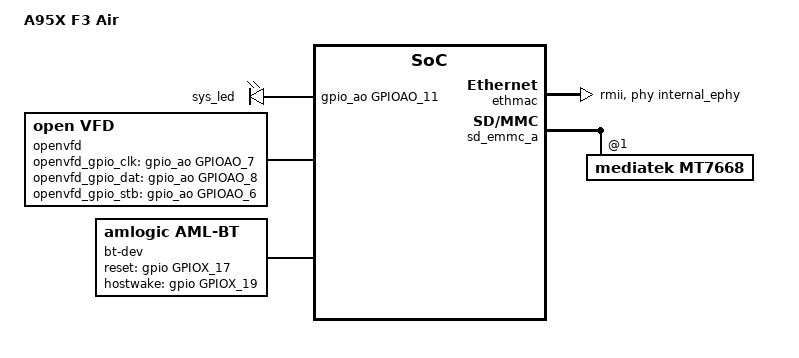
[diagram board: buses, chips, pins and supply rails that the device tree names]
// SPDX-License-Identifier: (GPL-2.0+ OR MIT)
/*
 * A95X F3 Air (Shenzhen CYX), Amlogic S905X3.
 *
 * Board description after mainline meson-sm1-a95xf3-air.dts
 * (Copyright (c) 2020 Christian Hewitt <christianshewitt@gmail.com>)
 * and the stock DTB of the box (amlogic-dt-id "sm1_ac213_4g").
 */

/dts-v1/;

#include "sm1_s905x3_common_oldfw.dtsi"
#include "remote-cyx-a95xf3air.dtsi"

/ {
	model = "A95X F3 Air";
	amlogic-dt-id = "sm1_a95xf3air";
	compatible = "sm1_a95xf3air";

	/* 4 GiB, usable range of the stock DTB */
	memory@00000000 {
		device_type = "memory";
		linux,usable-memory = <0x0 0x000000 0x0 0xf5700000>;
	};

	gpioleds {
		compatible = "gpio-leds";
		status = "okay";

		sys_led {
			label="sys_led";
			gpios=<&gpio_ao GPIOAO_11 GPIO_ACTIVE_HIGH>;
			default-state ="default-on";
		};
	};

	/*
	 * Front panel clock: FD628 with a 4-digit LED display (OpenVFD
	 * display type 0x03 "5D_7S_ABOX", controller FD628), from the A95X
	 * F3 Air entry of arthur-liberman/vfd-configurations. The pins match
	 * the stock cyx-vfd node (STB GPIOAO_6, CLK GPIOAO_7, DAT GPIOAO_8).
	 */
	openvfd {
		compatible = "open,vfd";
		dev_name = "openvfd";
		status = "okay";
		openvfd_gpio_clk = <&gpio_ao GPIOAO_7 GPIO_ACTIVE_HIGH>;
		openvfd_gpio_dat = <&gpio_ao GPIOAO_8 GPIO_ACTIVE_HIGH>;
		openvfd_gpio_stb = <&gpio_ao GPIOAO_6 GPIO_ACTIVE_HIGH>;
		openvfd_chars = [04 00 01 02 03];
		openvfd_dot_bits = [00 01 02 03 04 05 06];
		/* type, reserved, flags, controller (little endian) */
		openvfd_display_type = <0x00000003>;
	};

	/* Bluetooth of the SDIO WiFi module, as in the stock bt-dev node */
	bt-dev {
		compatible = "amlogic, aml-bt";
		dev_name = "bt-dev";
		status = "okay";
		reset-gpios = <&gpio GPIOX_17 GPIO_ACTIVE_HIGH>;
		hostwake-gpios = <&gpio GPIOX_19 GPIO_ACTIVE_HIGH>;
		/* Power the MT7668 BT core once at probe and never again from
		 * rfkill: btmtksdio sets it up only once, and resetting it
		 * afterwards wedges the CR4 shared with Wi-Fi.
		 */
		power_down_disable = <1>;
	};
};

/* Internal 10/100 PHY, as in meson-sm1-a95xf3-air.dts and the stock DTB */
&ethmac {
	status = "okay";
	phy-handle = <&internal_ephy>;
	phy-mode = "rmii";
};

/* MT7668RSN SDIO function 1 is Wi-Fi; function 2 is handled by btmtksdio. */
&sd_emmc_a {
	#address-cells = <1>;
	#size-cells = <0>;
	/* The stock DTB caps the SDIO bus at 100 MHz (SDR104 runs at 200) */
	max-frequency = <100000000>;
	/* Old-style property, meson-gx-mmc only reads ocr_avail */
	/delete-property/ cr_avail;

	mt7668: wifi@1 {
		compatible = "mediatek,mt7668";
		reg = <1>;
	};
};

/* Both USB ports are type A host ports; the stock DTB runs them host only */
&dwc2_a {
	controller-type = <1>;
};

&usb3_phy_v2 {
	otg = <0>;
};
